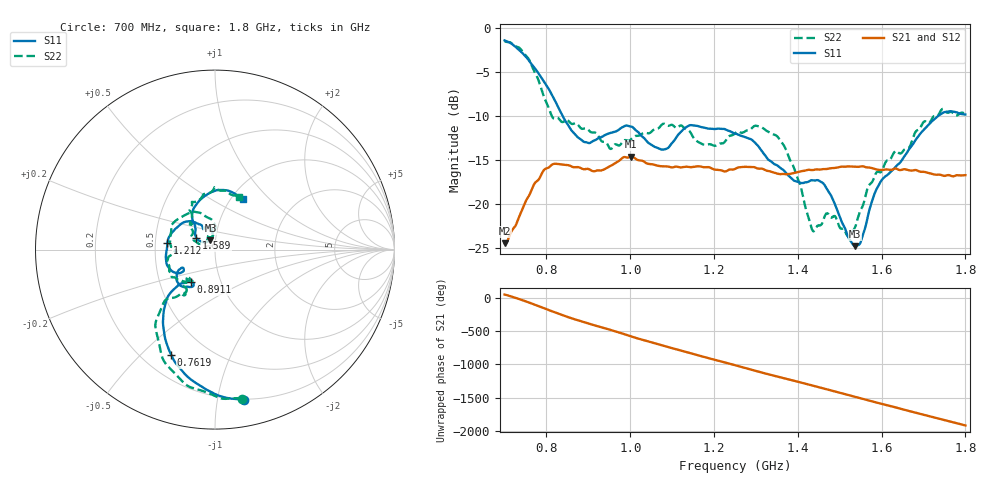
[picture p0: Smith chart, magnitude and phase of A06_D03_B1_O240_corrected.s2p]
! Created with skrf 1.9.0 (http://scikit-rf.org).
# Hz S RI R 50.0
!freq ReS11 ImS11 ReS21 ImS21 ReS12 ImS12 ReS22 ImS22
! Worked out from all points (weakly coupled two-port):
!   1601 points, 700 MHz to 1.8 GHz, reference 50 ohm
!   highest |S21| = -14.61 dB at 1.002 GHz (marker M1); lowest = -24.5 dB at 701.4 MHz (marker M2)
!   lowest |S11| = -24.8 dB at 1.537 GHz (marker M3), VSWR 1.12, Z = 47.3 + j4.9 ohm
!   |S11| at or under -10 dB: 838.4 MHz to 1.735 GHz (896.2 MHz wide, 69.7 % of centre)
!   |S22| runs from -23.7 to -1.5 dB; largest |S21 - S12| = 0.0035
!   S11 on the Smith chart (normalised r, x): 700 MHz: 0.20, -1.19; 761.9 MHz: 0.32, -0.62; 891.1 MHz: 0.72, -0.27; 1.212 GHz: 0.58, +0.05; 1.589 GHz: 0.80, +0.11; 1.8 GHz: 1.13, +0.71
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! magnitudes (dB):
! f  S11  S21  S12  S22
! 700 MHz  -1.4  -24.5  -24.3  -1.5
! 701.4 MHz  -1.4  -24.5  -24.1  -1.5
! 761.9 MHz  -3.9  -18.7  -18.6  -3.9
! 814.8 MHz  -7.7  -15.5  -15.6  -10.2
! 883.6 MHz  -12.7  -16.0  -15.9  -11.4
! 891.1 MHz  -13.0  -16.0  -16.0  -11.4
! 953 MHz  -11.9  -15.7  -15.7  -13.7
! 1.002 GHz  -11.2  -14.6  -14.7  -12.6
! 1.067 GHz  -13.7  -15.7  -15.6  -11.4
! 1.141 GHz  -11.1  -15.8  -15.8  -11.7
! 1.212 GHz  -11.4  -16.1  -16.1  -13.2
! 1.25 GHz  -12.0  -16.0  -15.9  -12.0
! 1.354 GHz  -15.7  -16.6  -16.5  -12.5
! 1.392 GHz  -17.4  -16.5  -16.4  -16.1
! 1.434 GHz  -17.3  -16.1  -16.1  -22.9
! 1.466 GHz  -18.0  -16.0  -16.0  -21.2
! 1.52 GHz  -23.8  -15.7  -15.7  -23.7
! 1.537 GHz  -24.8  -15.8  -15.8  -22.6
! 1.589 GHz  -18.2  -16.1  -16.1  -16.3
! 1.617 GHz  -16.6  -16.1  -16.1  -15.0
! 1.736 GHz  -9.9  -16.7  -16.7  -9.8
! 1.8 GHz  -9.8  -16.7  -16.7  -9.8
